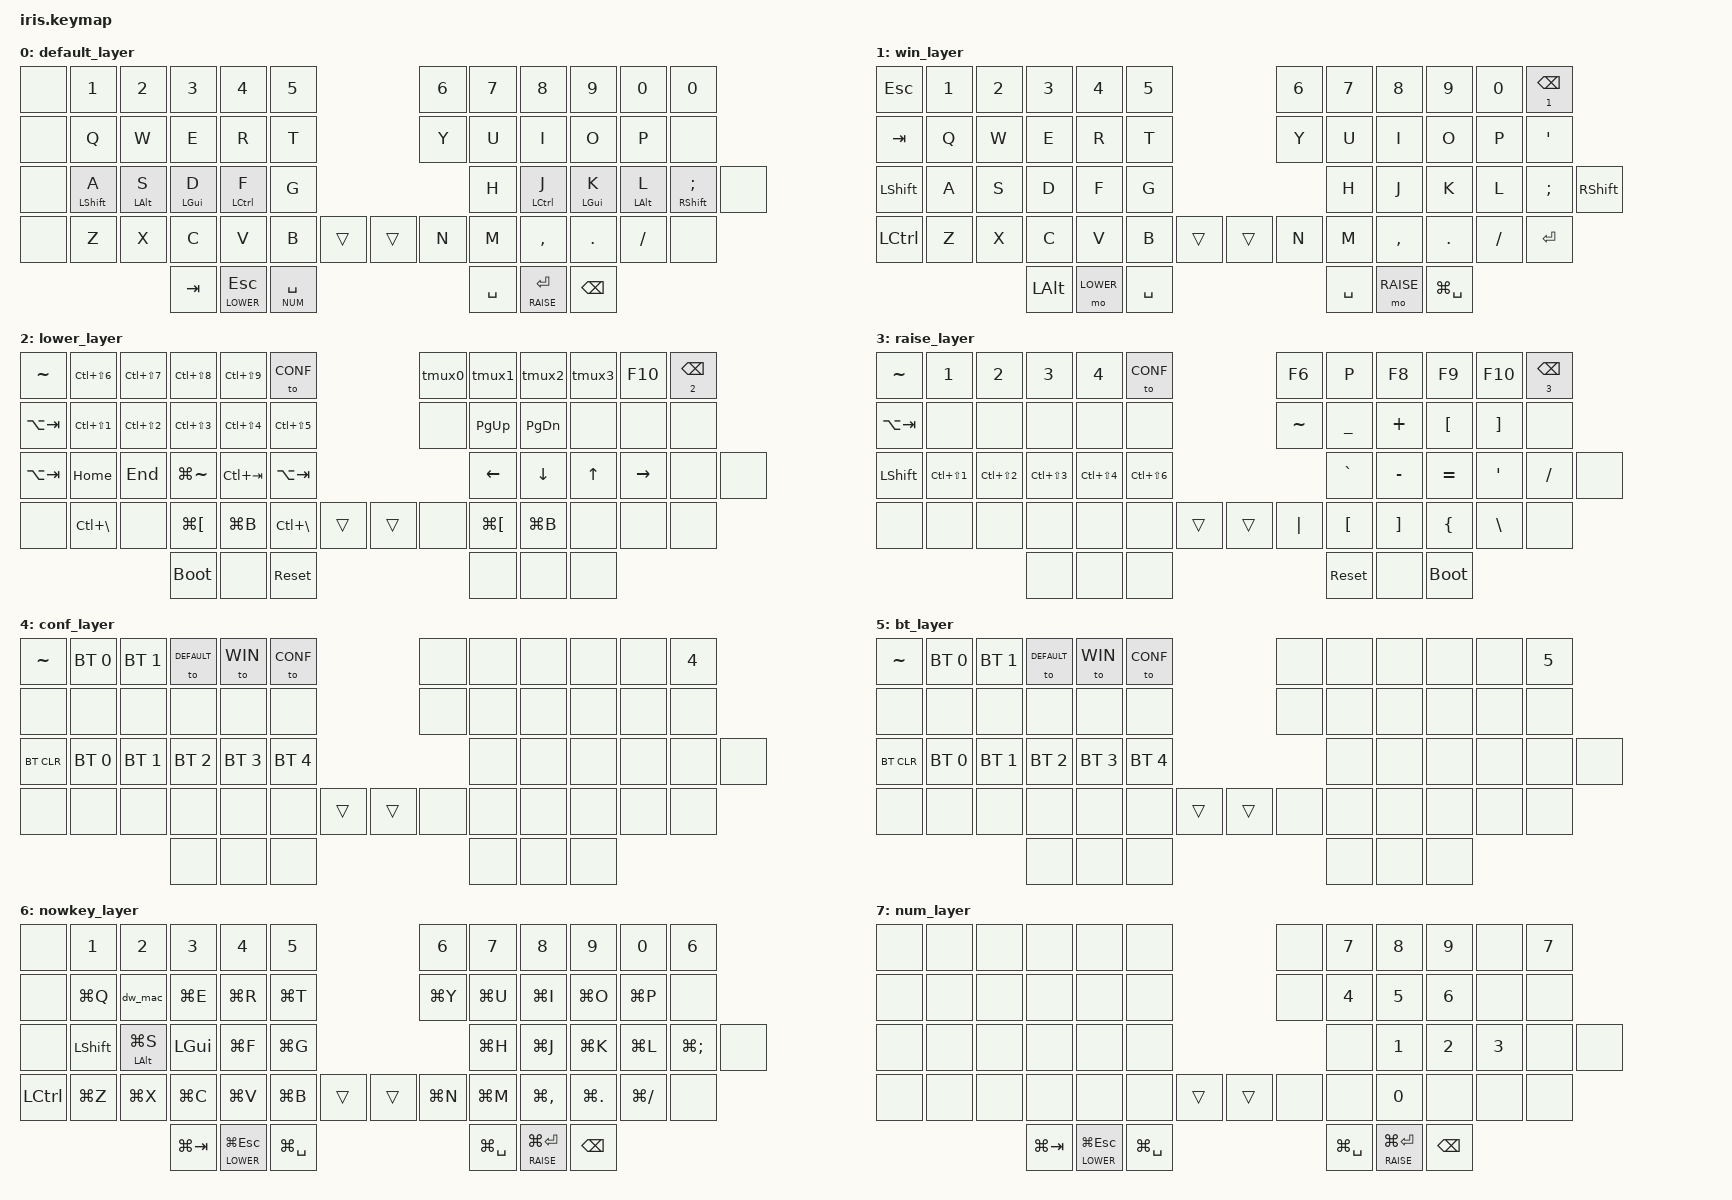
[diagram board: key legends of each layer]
/*
 * Copyright (c) 2020 The ZMK Contributors
 *
 * SPDX-License-Identifier: MIT
 */

#include <behaviors.dtsi>
#include <dt-bindings/zmk/keys.h>
#include <dt-bindings/zmk/bt.h>


#define xxx &none
#define ___ &trans
#define ph1 &kp LC(LS(N1))
#define ph2 &kp LC(LS(N2))
#define ph3 &kp LC(LS(N3))
#define ph4 &kp LC(LS(N4))
#define ph5 &kp LC(LS(N5))
#define ph6 &kp LC(LS(N6))
#define ph7 &kp LC(LS(N7))
#define ph8 &kp LC(LS(N8))
#define ph9 &kp LC(LS(N9))
#define nvtc &kp LC(BSLH)

#define DEFAULT 0
#define WIN 1
#define LOWER 2
#define RAISE 3
#define CONF 4
#define BT 5
#define NOWKEY 6
#define NUM 7


/ {
    macros {
        zed_to_bt0: zed_to_bt0 {
            compatible = "zmk,behavior-macro";
            #binding-cells = <0>;
            bindings
                = <&to DEFAULT>
                , <&bt BT_SEL 0>
                ;
        };
        zed_to_bt1: zed_to_bt1 {
            compatible = "zmk,behavior-macro";
            #binding-cells = <0>;
            bindings
                = <&to WIN>
                , <&bt BT_SEL 1>
                ;
        };
        dw_mac: dw_mac {
            compatible = "zmk,behavior-macro";
            #binding-cells = <0>;
            bindings
                = <&kp D>
                , <&kp W>
                ;
        };
        tmux0: tmux0{
            compatible = "zmk,behavior-macro";
            #binding-cells = <0>;
            bindings = <&kp LC(B)>, <&kp N0>;
        };
        tmux1: tmux1{
            compatible = "zmk,behavior-macro";
            #binding-cells = <0>;
            bindings = <&kp LC(B)>, <&kp N1>;
        };
        tmux2: tmux2{
            compatible = "zmk,behavior-macro";
            #binding-cells = <0>;
            bindings = <&kp LC(B)>, <&kp N2>;
        };
        tmux3: tmux3{
            compatible = "zmk,behavior-macro";
            #binding-cells = <0>;
            bindings = <&kp LC(B)>, <&kp N3>;
        };
    };
};


/ {
  behaviors {
        bhm: balanced_homerow_mods {
            compatible = "zmk,behavior-hold-tap";
            #binding-cells = <2>;
            tapping-term-ms = <300>;    // <---[[moderate duration]]
            quick-tap-ms = <0>;
            flavor = "balanced";
            bindings = <&kp>, <&kp>;
        };
        lhm: balanced_homerow_mods2 {
            compatible = "zmk,behavior-hold-tap";
            #binding-cells = <2>;
            tapping-term-ms = <220>;    // <---[[moderate duration]]
            quick-tap-ms = <0>;
            flavor = "hold-preferred";
            bindings = <&mo>, <&kp>;
        };
        zhm: tap_homerow_mods {
            compatible = "zmk,behavior-hold-tap";
            #binding-cells = <2>;
            tapping-term-ms = <400>;    // <---[[moderate duration]]
            quick-tap-ms = <0>;
            flavor = "tap-preferred";
            require-prior-idle-ms = <125>;
            bindings = <&mo>, <&kp>;
        };
        btp: bluetooth_clear_protection {
            compatible = "zmk,behavior-hold-tap";
            #binding-cells = <2>;
            tapping-term-ms = <1000>;    // <---[[moderate duration]]
            quick-tap-ms = <0>;
            flavor = "hold-preferred";
            bindings = <&bt>, <&kp>;
        };
  };

  keymap {
    compatible = "zmk,keymap";

    default_layer {

      bindings = <
// ┌──────────┬──────────┬──────────┬──────────┬──────────┬──────────┐   ┌───────────┬───────────┬───────────┬──────────┬──────────┬──────────┐
      xxx         &kp N1    &kp N2     &kp N3     &kp N4     &kp N5         &kp N6      &kp N7      &kp N8      &kp N9     &kp N0     &kp N0
// ├──────────┼──────────┼──────────┼──────────┼──────────┼──────────┤   ├───────────┼───────────┼───────────┼──────────┼──────────┼──────────┤
      xxx         &kp Q     &kp W      &kp E      &kp R      &kp T          &kp Y       &kp U       &kp I       &kp O      &kp P      xxx
// ├──────────┼──────────┼──────────┼──────────┼──────────┼──────────┤   ├───────────┼───────────┼───────────┼──────────┼──────────┼──────────┤
      xxx    &bhm LSHIFT A &bhm LALT S  &bhm LGUI D &bhm LCTRL F &kp G     &kp H   &bhm LCTRL J &bhm LGUI K  &bhm LALT L  &bhm RSHIFT SEMI  xxx
// ├──────────┼──────────┼──────────┼──────────┼──────────┼──────────┤   ├───────────┼───────────┼───────────┼──────────┼──────────┼──────────┤
      xxx         &kp Z     &kp X      &kp C      &kp V      &kp B  ___ ___ &kp N       &kp M      &kp COMMA    &kp DOT    &kp FSLH  xxx
// └──────────┴──────────┴──────────┼──────────┼──────────┼──────────┤   ├───────────┼───────────┼───────────┼──────────┴──────────┴──────────┘
                                  &kp TAB  &lhm LOWER ESC  &lhm NUM SPACE     &kp SPACE    &lhm RAISE RET  &kp BSPC
//                                  └──────────┴──────────┴──────────┘   └───────────┴──────────┴────────────┘
      >;
    };

    win_layer {
      bindings = <
// ┌──────────┬──────────┬──────────┬──────────┬──────────┬──────────┐   ┌───────────┬───────────┬───────────┬──────────┬──────────┬──────────┐
     &kp ESC      &kp N1    &kp N2     &kp N3     &kp N4     &kp N5         &kp N6      &kp N7      &kp N8      &kp N9     &kp N0    &bhm N1 BSPC
// ├──────────┼──────────┼──────────┼──────────┼──────────┼──────────┤   ├───────────┼───────────┼───────────┼──────────┼──────────┼──────────┤
     &kp TAB      &kp Q     &kp W      &kp E      &kp R      &kp T          &kp Y       &kp U       &kp I       &kp O      &kp P     &kp SQT
// ├──────────┼──────────┼──────────┼──────────┼──────────┼──────────┤   ├───────────┼───────────┼───────────┼──────────┼──────────┼──────────┤
     &kp LSHFT    &kp A     &kp S      &kp D      &kp F      &kp G          &kp H       &kp J       &kp K       &kp L      &kp SEMI  &kp RSHFT
// ├──────────┼──────────┼──────────┼──────────┼──────────┼──────────┤   ├───────────┼───────────┼───────────┼──────────┼──────────┼──────────┤
     &kp LCTRL    &kp Z     &kp X      &kp C      &kp V      &kp B  ___ ___ &kp N       &kp M       &kp COMMA    &kp DOT    &kp FSLH  &kp RET
// └──────────┴──────────┴──────────┼──────────┼──────────┼──────────┤   ├───────────┼───────────┼───────────┼──────────┴──────────┴──────────┘
                                       &kp LALT    &mo LOWER   &kp SPACE      &kp SPACE    &mo RAISE     &kp LG(SPACE)
//                                  └──────────┴──────────┴──────────┘   └───────────┴──────────┴────────────┘
      >;
    };

    lower_layer {
      bindings = <
// ┌──────────┬──────────┬──────────┬──────────┬──────────┬──────────┐   ┌───────────┬───────────┬───────────┬──────────┬──────────┬──────────┐
    &kp TILDE    ph6        ph7        ph8        ph9      &to  CONF         &tmux0      &tmux1      &tmux2      &tmux3     &kp F10    &bhm N2 BSPC
// ├──────────┼──────────┼──────────┼──────────┼──────────┼──────────┤   ├───────────┼───────────┼───────────┼──────────┼──────────┼──────────┤
    &kp LA(TAB)  ph1        ph2        ph3        ph4        ph5             xxx        &kp PAGE_UP &kp PAGE_DOWN  xxx      xxx        xxx
// ├──────────┼──────────┼──────────┼──────────┼──────────┼──────────┤   ├───────────┼───────────┼───────────┼──────────┼──────────┼──────────┤
    &kp LA(TAB)  &kp HOME   &kp END    &kp LG(TILDE)  &kp LC(TAB)  &kp LA(TAB)   &kp LEFT    &kp DOWN    &kp UP     &kp RIGHT   xxx        xxx
// ├──────────┼──────────┼──────────┼──────────┼──────────┼──────────┤   ├───────────┼───────────┼───────────┼──────────┼──────────┼──────────┤
       xxx       nvtc        xxx      &kp LG(LBKT)  &kp LG(B) nvtc    ___ ___ xxx       &kp LG(LBKT) &kp LG(B)  xxx        xxx        xxx
// └──────────┴──────────┴──────────┼──────────┼──────────┼──────────┤   ├───────────┼───────────┼───────────┼──────────┴──────────┴──────────┘
                                      &bootloader  xxx       &sys_reset       xxx         xxx         xxx
//                                  └──────────┴──────────┴──────────┘   └───────────┴───────────┴───────────┘
      >;
    };

    raise_layer {
      bindings = <
// ┌──────────┬──────────┬──────────┬──────────┬──────────┬──────────┐   ┌───────────┬───────────┬───────────┬──────────┬──────────┬──────────┐
    &kp TILDE    &kp N1    &kp N2     &kp N3     &kp N4    &to  CONF        &kp F6     &kp P        &kp F8      &kp F9     &kp F10   &bhm N3 BSPC
// ├──────────┼──────────┼──────────┼──────────┼──────────┼──────────┤   ├───────────┼───────────┼───────────┼──────────┼──────────┼──────────┤
   &kp LA(TAB)   xxx        xxx        xxx        xxx       xxx             &kp TILDE  &kp UNDER    &kp PLUS    &kp LBKT      &kp RBKT   xxx
// ├──────────┼──────────┼──────────┼──────────┼──────────┼──────────┤   ├───────────┼───────────┼───────────┼──────────┼──────────┼──────────┤
    &kp LSHFT    ph1        ph2        ph3        ph4       ph6             &kp GRAVE  &kp MINUS   &kp EQUAL   &kp SQT    &kp SLASH   xxx
// ├──────────┼──────────┼──────────┼──────────┼──────────┼──────────┤   ├───────────┼───────────┼───────────┼──────────┼──────────┼──────────┤
      xxx        xxx        xxx        xxx        xxx        xxx    ___ ___ &kp PIPE   &kp LBKT    &kp RBKT    &kp LBRC    &kp BSLH   xxx
// └──────────┴──────────┴──────────┼──────────┼──────────┼──────────┤   ├───────────┼───────────┼───────────┼──────────┴──────────┴──────────┘
                                       xxx        xxx        xxx            &sys_reset      xxx       &bootloader
//                                  └──────────┴──────────┴──────────┘   └───────────┴───────────┴───────────┘
      >;
    };


    conf_layer {
      bindings = <
// ┌──────────┬──────────┬──────────┬──────────┬──────────┬──────────┐   ┌───────────┬───────────┬───────────┬──────────┬──────────┬──────────┐
    &kp TILDE    &bt BT_SEL 0   &bt BT_SEL 1     &to DEFAULT  &to WIN     &to  CONF       xxx         xxx         xxx         xxx        xxx        &kp N4
// ├──────────┼──────────┼──────────┼──────────┼──────────┼──────────┤   ├───────────┼───────────┼───────────┼──────────┼──────────┼──────────┤
     xxx         xxx        xxx        xxx        xxx        xxx            xxx         xxx         xxx         xxx        xxx        xxx
// ├──────────┼──────────┼──────────┼──────────┼──────────┼──────────┤   ├───────────┼───────────┼───────────┼──────────┼──────────┼──────────┤
&bt BT_CLR   &bt BT_SEL 0 &bt BT_SEL 1 &bt BT_SEL 2 &bt BT_SEL 3 &bt BT_SEL 4     xxx         xxx         xxx         xxx        xxx        xxx
// ├──────────┼──────────┼──────────┼──────────┼──────────┼──────────┤   ├───────────┼───────────┼───────────┼──────────┼──────────┼──────────┤
     xxx         xxx        xxx        xxx        xxx        xxx    ___ ___ xxx         xxx         xxx         xxx        xxx        xxx
// └──────────┴──────────┴──────────┼──────────┼──────────┼──────────┤   ├───────────┼───────────┼───────────┼──────────┴──────────┴──────────┘
                                       xxx        xxx        xxx            xxx         xxx         xxx
//                                  └──────────┴──────────┴──────────┘   └───────────┴───────────┴───────────┘
      >;
    };

    bt_layer {
      bindings = <
// ┌──────────┬──────────┬──────────┬──────────┬──────────┬──────────┐   ┌───────────┬───────────┬───────────┬──────────┬──────────┬──────────┐
    &kp TILDE    &bt BT_SEL 0   &bt BT_SEL 1     &to DEFAULT  &to WIN   &to  CONF       xxx         xxx         xxx         xxx        xxx        &kp N5
// ├──────────┼──────────┼──────────┼──────────┼──────────┼──────────┤   ├───────────┼───────────┼───────────┼──────────┼──────────┼──────────┤
     xxx         xxx        xxx        xxx        xxx        xxx            xxx         xxx         xxx         xxx        xxx        xxx
// ├──────────┼──────────┼──────────┼──────────┼──────────┼──────────┤   ├───────────┼───────────┼───────────┼──────────┼──────────┼──────────┤
&bt BT_CLR   &bt BT_SEL 0 &bt BT_SEL 1 &bt BT_SEL 2 &bt BT_SEL 3 &bt BT_SEL 4     xxx         xxx         xxx         xxx        xxx        xxx
// ├──────────┼──────────┼──────────┼──────────┼──────────┼──────────┤   ├───────────┼───────────┼───────────┼──────────┼──────────┼──────────┤
     xxx         xxx        xxx        xxx        xxx        xxx    ___ ___ xxx         xxx         xxx         xxx        xxx        xxx
// └──────────┴──────────┴──────────┼──────────┼──────────┼──────────┤   ├───────────┼───────────┼───────────┼──────────┴──────────┴──────────┘
                                       xxx        xxx        xxx            xxx         xxx         xxx
//                                  └──────────┴──────────┴──────────┘   └───────────┴───────────┴───────────┘
      >;
    };

    nowkey_layer {

      bindings = <
// ┌──────────┬──────────┬──────────┬──────────┬──────────┬──────────┐   ┌───────────┬───────────┬───────────┬──────────┬──────────┬──────────┐
      xxx         &kp N1    &kp N2     &kp N3     &kp N4     &kp N5         &kp N6      &kp N7      &kp N8      &kp N9     &kp N0     &kp N6
// ├──────────┼──────────┼──────────┼──────────┼──────────┼──────────┤   ├───────────┼───────────┼───────────┼──────────┼──────────┼──────────┤
      xxx      &kp LG(Q)   &dw_mac   &kp LG(E)        &kp LG(R)      &kp LG(T)          &kp LG(Y)       &kp LG(U)       &kp LG(I)       &kp LG(O)      &kp LG(P)      xxx
// ├──────────┼──────────┼──────────┼──────────┼──────────┼──────────┤   ├───────────┼───────────┼───────────┼──────────┼──────────┼──────────┤
      xxx      &kp LSHIFT  &bhm LALT LG(S)  &kp LGUI &kp LG(F) &kp LG(G)     &kp LG(H)      &kp LG(J)      &kp LG(K)       &kp LG(L)       &kp LG(SEMI)   xxx
// ├──────────┼──────────┼──────────┼──────────┼──────────┼──────────┤   ├───────────┼───────────┼───────────┼──────────┼──────────┼──────────┤
     &kp LCTRL    &kp LG(Z)     &kp LG(X)      &kp LG(C)      &kp LG(V)      &kp LG(B)  ___ ___ &kp LG(N)       &kp LG(M)      &kp LG(COMMA)    &kp LG(DOT)    &kp LG(FSLH)  xxx
// └──────────┴──────────┴──────────┼──────────┼──────────┼──────────┤   ├───────────┼───────────┼───────────┼──────────┴──────────┴──────────┘
                                  &kp LG(TAB)  &lhm LOWER LG(ESC)  &kp LG(SPACE)     &kp LG(SPACE)    &lhm RAISE LG(RET)  &kp BSPC
//                                  └──────────┴──────────┴──────────┘   └───────────┴──────────┴────────────┘
      >;
    };
    num_layer {

      bindings = <
// ┌──────────┬──────────┬──────────┬──────────┬──────────┬──────────┐   ┌───────────┬───────────┬───────────┬──────────┬──────────┬──────────┐
      xxx         xxx       xxx        xxx         xxx        xxx            xxx         &kp N7     &kp N8     &kp N9        xxx        &kp N7
// ├──────────┼──────────┼──────────┼──────────┼──────────┼──────────┤   ├───────────┼───────────┼──────────┼───────────┼──────────┼──────────┤
      xxx         xxx       xxx        xxx         xxx        xxx            xxx         &kp N4     &kp N5     &kp N6        xxx        xxx
// ├──────────┼──────────┼──────────┼──────────┼──────────┼──────────┤   ├───────────┼───────────┼──────────┼───────────┼──────────┼──────────┤
      xxx         xxx       xxx        xxx         xxx       xxx            xxx         &kp N1     &kp N2     &kp N3        xxx        xxx
// ├──────────┼──────────┼──────────┼──────────┼──────────┼──────────┤   ├───────────┼───────────┼───────────┼──────────┼──────────┼──────────┤
      xxx         xxx       xxx        xxx         xxx        xxx   ___ ___  xxx         xxx        &kp N0        xxx         xxx        xxx
// └──────────┴──────────┴──────────┼──────────┼──────────┼──────────┤   ├───────────┼───────────┼───────────┼──────────┴──────────┴──────────┘
                                  &kp LG(TAB)  &lhm LOWER LG(ESC)  &kp LG(SPACE)     &kp LG(SPACE)    &lhm RAISE LG(RET)  &kp BSPC
//                                  └──────────┴──────────┴──────────┘   └───────────┴──────────┴────────────┘
      >;
    };

  };
};
